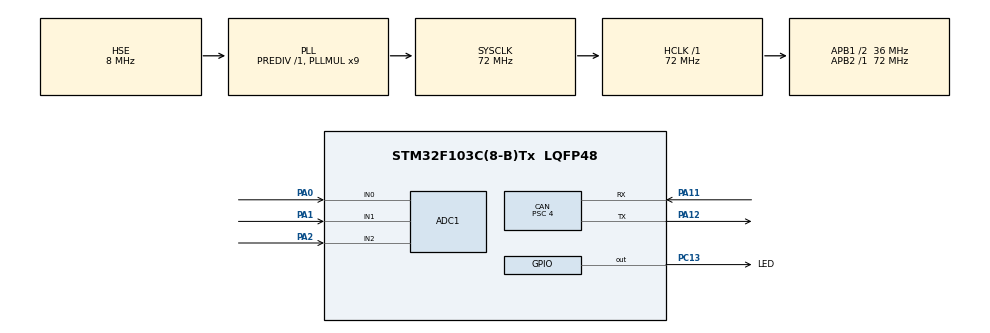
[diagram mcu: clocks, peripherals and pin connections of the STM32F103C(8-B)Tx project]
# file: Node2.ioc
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ADC1.Channel-0\#ChannelRegularConversion=ADC_CHANNEL_0
ADC1.Channel-1\#ChannelRegularConversion=ADC_CHANNEL_1
ADC1.Channel-2\#ChannelRegularConversion=ADC_CHANNEL_2
ADC1.ContinuousConvMode=ENABLE
ADC1.NbrOfConversion=3
ADC1.NbrOfConversionFlag=1
ADC1.Rank-0\#ChannelRegularConversion=1
ADC1.Rank-1\#ChannelRegularConversion=2
ADC1.Rank-2\#ChannelRegularConversion=3
ADC1.SamplingTime-0\#ChannelRegularConversion=ADC_SAMPLETIME_239CYCLES_5
ADC1.SamplingTime-1\#ChannelRegularConversion=ADC_SAMPLETIME_239CYCLES_5
ADC1.SamplingTime-2\#ChannelRegularConversion=ADC_SAMPLETIME_239CYCLES_5
ADC1.master=1
CAN.ABOM=ENABLE
CAN.BS1=CAN_BS1_12TQ
CAN.BS2=CAN_BS2_5TQ
CAN.CalculateBaudRate=500000
CAN.CalculateTimeBit=2000
CAN.CalculateTimeQuantum=111.11111111111111
CAN.NART=ENABLE
CAN.Prescaler=4
Dma.ADC1.0.Direction=DMA_PERIPH_TO_MEMORY
Dma.ADC1.0.Instance=DMA1_Channel1
Dma.ADC1.0.MemDataAlignment=DMA_MDATAALIGN_WORD
Dma.ADC1.0.MemInc=DMA_MINC_ENABLE
Dma.ADC1.0.Mode=DMA_CIRCULAR
Dma.ADC1.0.PeriphDataAlignment=DMA_PDATAALIGN_WORD
Dma.ADC1.0.PeriphInc=DMA_PINC_DISABLE
Dma.ADC1.0.Priority=DMA_PRIORITY_LOW
Dma.Request0=ADC1
Mcu.Family=STM32F1
Mcu.Name=STM32F103C(8-B)Tx
Mcu.Package=LQFP48
NVIC.ADC1_2_IRQn=true\:0\:0\:false\:false\:true\:true\:true\:true
NVIC.DMA1_Channel1_IRQn=true\:0\:0\:false\:false\:true\:false\:true\:true
NVIC.PriorityGroup=NVIC_PRIORITYGROUP_4
PA0-WKUP.Signal=ADCx_IN0
PA1.Signal=ADCx_IN1
PA11.Mode=CAN_Activate
PA11.Signal=CAN_RX
PA12.Mode=CAN_Activate
PA12.Signal=CAN_TX
PA13.Mode=Serial_Wire
PA13.Signal=SYS_JTMS-SWDIO
PA14.Mode=Serial_Wire
PA14.Signal=SYS_JTCK-SWCLK
PA2.Signal=ADCx_IN2
PC13-TAMPER-RTC.GPIO_Label=LED
PC13-TAMPER-RTC.PinState=GPIO_PIN_SET
PC13-TAMPER-RTC.Signal=GPIO_Output
PD0-OSC_IN.Mode=HSE-External-Oscillator
PD0-OSC_IN.Signal=RCC_OSC_IN
PD1-OSC_OUT.Mode=HSE-External-Oscillator
PD1-OSC_OUT.Signal=RCC_OSC_OUT
ProjectManager.HeapSize=0x200
ProjectManager.StackSize=0x400
ProjectManager.TargetToolchain=STM32CubeIDE
RCC.ADCPresc=RCC_ADCPCLK2_DIV6
RCC.AHBFreq_Value=72000000
RCC.APB1CLKDivider=RCC_HCLK_DIV2
RCC.APB1Freq_Value=36000000
RCC.APB1TimFreq_Value=72000000
RCC.APB2Freq_Value=72000000
RCC.APB2TimFreq_Value=72000000
RCC.HCLKFreq_Value=72000000
RCC.PLLMUL=RCC_PLL_MUL9
RCC.PLLSourceVirtual=RCC_PLLSOURCE_HSE
RCC.SYSCLKFreq_VALUE=72000000
RCC.SYSCLKSource=RCC_SYSCLKSOURCE_PLLCLK
RCC.USBFreq_Value=72000000
SH.ADCx_IN0.0=ADC1_IN0,IN0
SH.ADCx_IN1.0=ADC1_IN1,IN1
SH.ADCx_IN2.0=ADC1_IN2,IN2
board=custom

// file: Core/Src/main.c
/* USER CODE BEGIN Header */
/**
  ******************************************************************************
  * @file    : main.c
  * @brief   : Node 2 -- BCM/BMS Simulator
  *            Reads 3x 10kOhm potentiometers via ADC with DMA.
  *            Transmits CAN: Battery SoC, Gear index, Drive Mode index.
  ******************************************************************************
  */
/* USER CODE END Header */

#include "main.h"
#include "adc.h"    /* MX_ADC1_Init(), hadc1 handle                            */
#include "dma.h"    /* MX_DMA_Init() -- must be initialised BEFORE ADC          */
#include "can.h"    /* MX_CAN_Init(), hcan handle                               */
#include "gpio.h"

/* USER CODE BEGIN Includes */
#include <stdint.h>
/* USER CODE END Includes */

/* USER CODE BEGIN PD */
/*
 * Zone mapping constants.
 * Algorithm: zone = adc_value * N / 4096
 * Using 4096 (not 4095) as divisor prevents zone from ever reaching N.
 *   4095 * 7 / 4096 = 6  (D3, last zone)
 *   4095 * 3 / 4096 = 2  (SPORT, last zone)
 */
#define ADC_GEAR_ZONES   7
#define ADC_MODE_ZONES   3
#define ADC_MAX_12BIT    4096UL   /* divisor for zone mapping (NOT 4095)        */
#define ADC_FULL_SCALE   4095UL   /* divisor for SoC % mapping                  */

/* ADC rail-check thresholds for 0x1F2 heartbeat health bytes.
 * A pot reading outside [LOW_RAIL, HIGH_RAIL] indicates disconnected or
 * shorted hardware; within range it is considered healthy regardless of position. */
#define ADC_POT_LOW_RAIL    50    /* below this -> pot disconnected / shorted to GND */
#define ADC_POT_HIGH_RAIL 4045   /* above this -> pot shorted to VCC                */
/* USER CODE END PD */

/* USER CODE BEGIN PV */
/*
 * adc_raw[3] -- DMA destination buffer (circular mode).
 *   adc_raw[0] = CH0 -> PA0 -> Battery SoC potentiometer
 *   adc_raw[1] = CH1 -> PA1 -> Gear selector potentiometer
 *   adc_raw[2] = CH2 -> PA2 -> Drive mode potentiometer
 *
 * WARNING: DMA Memory Increment (MINC) MUST be enabled in CubeMX.
 * If left unchecked (default), all three transfers land on &adc_raw[0]:
 * all three elements appear to mirror the same potentiometer ("mirroring" bug).
 *
 * 'volatile': DMA writes this array asynchronously; compiler must not cache.
 * 'uint32_t': matches DMA configuration (Data Width = Word/Word).
 */
volatile uint32_t adc_raw[3] = {0};

/* USER CODE END PV */

void SystemClock_Config(void);

/* USER CODE BEGIN 0 */

/*
 * map_battery_soc -- 12-bit ADC -> battery state-of-charge %.
 *   soc = adc * 100 / 4095
 *   Multiply first to preserve integer precision (max: 409500 < 2^32).
 *   Clamped to [0, 100] to guard against ADC noise.
 */
static inline uint8_t map_battery_soc(uint32_t adc)
{
    uint32_t soc = (adc * 100UL) / ADC_FULL_SCALE;
    if (soc > 100) soc = 100;
    return (uint8_t)soc;
}

/*
 * map_gear -- 12-bit ADC -> gear index 0-6.
 * ADC range    | Zone | Gear
 * 0    -  584  |  0   |  P
 * 585  - 1169  |  1   |  R
 * 1170 - 1754  |  2   |  N
 * 1755 - 2339  |  3   |  D
 * 2340 - 2924  |  4   |  D1
 * 2925 - 3509  |  5   |  D2
 * 3510 - 4095  |  6   |  D3
 */
static inline uint8_t map_gear(uint32_t adc)
{
    uint32_t zone = (adc * (uint32_t)ADC_GEAR_ZONES) / ADC_MAX_12BIT;
    if (zone >= ADC_GEAR_ZONES) zone = ADC_GEAR_ZONES - 1;
    return (uint8_t)zone;
}

/*
 * map_drive_mode -- 12-bit ADC -> drive mode index 0-2.
 * ADC range    | Zone | Mode   | Dashboard theme color
 * 0    - 1364  |  0   | ECO    | Lime    #B8FF01
 * 1365 - 2729  |  1   | NORMAL | White   #FFFFFF
 * 2730 - 4095  |  2   | SPORT  | Red-Org #FF3300
 */
static inline uint8_t map_drive_mode(uint32_t adc)
{
    uint32_t zone = (adc * (uint32_t)ADC_MODE_ZONES) / ADC_MAX_12BIT;
    if (zone >= ADC_MODE_ZONES) zone = ADC_MODE_ZONES - 1;
    return (uint8_t)zone;
}

/* USER CODE END 0 */

int main(void)
{

  HAL_Init();

  SystemClock_Config();

  /* CRITICAL ORDER: DMA must init before ADC */
  MX_GPIO_Init();
  MX_DMA_Init();    /* <- MUST come before MX_ADC1_Init()                       */
  MX_ADC1_Init();
  MX_CAN_Init();

  /* USER CODE BEGIN 2 */

  /* ADC self-calibration -- run once after power-on, before HAL_ADC_Start_DMA */
  HAL_ADCEx_Calibration_Start(&hadc1);

  /* Start ADC in DMA mode -- adc_raw[] updates continuously in the background */
  HAL_ADC_Start_DMA(&hadc1, (uint32_t *)adc_raw, 3);

  /* CAN Filter -- Accept-All (32-bit mask mode, mask=0x0000 -> all IDs pass).
   * ABOM is enabled in CubeMX, so no manual Stop/Start recovery is needed. */
  CAN_FilterTypeDef sFilterConfig;
  sFilterConfig.FilterBank           = 0;
  sFilterConfig.FilterMode           = CAN_FILTERMODE_IDMASK;
  sFilterConfig.FilterScale          = CAN_FILTERSCALE_32BIT;
  sFilterConfig.FilterIdHigh         = 0x0000;
  sFilterConfig.FilterIdLow          = 0x0000;
  sFilterConfig.FilterMaskIdHigh     = 0x0000;   /* mask=0 -> all ID bits are don't-care */
  sFilterConfig.FilterMaskIdLow      = 0x0000;
  sFilterConfig.FilterFIFOAssignment = CAN_RX_FIFO0;
  sFilterConfig.FilterActivation     = ENABLE;
  sFilterConfig.SlaveStartFilterBank = 14;       /* STM32F103 single-CAN: irrelevant but required */
  if (HAL_CAN_ConfigFilter(&hcan, &sFilterConfig) != HAL_OK)
  {
    Error_Handler();
  }

  if (HAL_CAN_Start(&hcan) != HAL_OK)
  {
    /* 5 Hz fast blink on PC13: CAN_Start failed. PC13 is active-LOW. */
    while (1)
    {
      HAL_GPIO_TogglePin(GPIOC, GPIO_PIN_13);
      HAL_Delay(100);   /* 100 ms -> 5 Hz */
    }
  }

  CAN_TxHeaderTypeDef TxHeader;
  uint32_t TxMailbox;
  TxHeader.IDE = CAN_ID_STD;
  TxHeader.RTR = CAN_RTR_DATA;
  TxHeader.DLC = 1;    /* all 3 Node 2 frames carry exactly 1 data byte        */
  TxHeader.TransmitGlobalTime = DISABLE;

  uint32_t last_tx_tick  = 0;
  uint32_t last_led_tick = 0;

  /* USER CODE END 2 */

  /* USER CODE BEGIN WHILE */
  while (1)
  {
    /* Non-blocking 1 Hz LED heartbeat -- PC13 active-LOW */
    uint32_t now = HAL_GetTick();
    if ((now - last_led_tick) >= 500)
    {
      last_led_tick = now;
      HAL_GPIO_TogglePin(GPIOC, GPIO_PIN_13);
    }

    /* 10 Hz rate limiter via uint32 subtraction.
     * Subtraction handles HAL_GetTick() rollover correctly (~49 days). */
    if ((now - last_tx_tick) >= 100)   /* 100 ms -> 10 Hz                       */
    {
      last_tx_tick = now;

      /* Snapshot adc_raw[] once to avoid torn reads from async DMA updates */
      uint32_t raw_batt = adc_raw[0];
      uint32_t raw_gear = adc_raw[1];
      uint32_t raw_mode = adc_raw[2];

      uint8_t soc  = map_battery_soc(raw_batt);
      uint8_t gear = map_gear(raw_gear);

      uint8_t mode = map_drive_mode(raw_mode);

      /* TX: 0x102 -- Battery SoC % (byte[0] = uint8, 0-100) */
      if (HAL_CAN_GetTxMailboxesFreeLevel(&hcan) > 0)
      {
        TxHeader.StdId = 0x102;
        HAL_CAN_AddTxMessage(&hcan, &TxHeader, &soc, &TxMailbox);
      }

      /* TX: 0x104 -- Gear index (byte[0] = uint8 0-6: P/R/N/D/D1/D2/D3) */
      if (HAL_CAN_GetTxMailboxesFreeLevel(&hcan) > 0)
      {
        TxHeader.StdId = 0x104;
        HAL_CAN_AddTxMessage(&hcan, &TxHeader, &gear, &TxMailbox);
      }

      /* TX: 0x108 -- Drive Mode index (byte[0] = uint8 0-2: ECO/NORMAL/SPORT) */
      if (HAL_CAN_GetTxMailboxesFreeLevel(&hcan) > 0)
      {
        TxHeader.StdId = 0x108;
        HAL_CAN_AddTxMessage(&hcan, &TxHeader, &mode, &TxMailbox);
      }

    } /* end 100ms block */

    /* TX: 0x1F2 -- Node 2 Heartbeat @ 500 ms (ADC rail check)
     * byte[0] = SoC  pot (PA0) health   -- 0x01 if in range (50..4045), 0xFF if at rail
     * byte[1] = Gear pot (PA1) health   -- 0x01 if in range (50..4045), 0xFF if at rail
     * byte[2] = Mode pot (PA2) health   -- 0x01 if in range (50..4045), 0xFF if at rail */
    {
      static uint32_t last_hb2_tick = 0;
      uint32_t now_hb2 = HAL_GetTick();
      if ((now_hb2 - last_hb2_tick) >= 500)
      {
        last_hb2_tick = now_hb2;
        if (HAL_CAN_GetTxMailboxesFreeLevel(&hcan) > 0)
        {
          uint8_t HB2[8] = {
            (adc_raw[0] > ADC_POT_LOW_RAIL && adc_raw[0] < ADC_POT_HIGH_RAIL) ? 0x01 : 0xFF,
            (adc_raw[1] > ADC_POT_LOW_RAIL && adc_raw[1] < ADC_POT_HIGH_RAIL) ? 0x01 : 0xFF,
            (adc_raw[2] > ADC_POT_LOW_RAIL && adc_raw[2] < ADC_POT_HIGH_RAIL) ? 0x01 : 0xFF,
            0x00, 0x00, 0x00, 0x00, 0x00
          };
          TxHeader.StdId = 0x1F2;
          TxHeader.DLC   = 8;
          HAL_CAN_AddTxMessage(&hcan, &TxHeader, HB2, &TxMailbox);
          TxHeader.DLC   = 1;   /* restore: normal Node 2 frames use DLC=1 */
        }
      }
    }

    /* USER CODE END WHILE */

  }
}

void SystemClock_Config(void)
{
  RCC_OscInitTypeDef RCC_OscInitStruct       = {0};
  RCC_ClkInitTypeDef RCC_ClkInitStruct       = {0};
  RCC_PeriphCLKInitTypeDef PeriphClkInit     = {0};

  RCC_OscInitStruct.OscillatorType = RCC_OSCILLATORTYPE_HSE;
  RCC_OscInitStruct.HSEState       = RCC_HSE_ON;
  RCC_OscInitStruct.HSEPredivValue = RCC_HSE_PREDIV_DIV1;
  RCC_OscInitStruct.HSIState       = RCC_HSI_ON;
  RCC_OscInitStruct.PLL.PLLState   = RCC_PLL_ON;
  RCC_OscInitStruct.PLL.PLLSource  = RCC_PLLSOURCE_HSE;
  RCC_OscInitStruct.PLL.PLLMUL     = RCC_PLL_MUL9;
  if (HAL_RCC_OscConfig(&RCC_OscInitStruct) != HAL_OK) { Error_Handler(); }

  RCC_ClkInitStruct.ClockType      = RCC_CLOCKTYPE_HCLK | RCC_CLOCKTYPE_SYSCLK
                                   | RCC_CLOCKTYPE_PCLK1 | RCC_CLOCKTYPE_PCLK2;
  RCC_ClkInitStruct.SYSCLKSource   = RCC_SYSCLKSOURCE_PLLCLK;
  RCC_ClkInitStruct.AHBCLKDivider  = RCC_SYSCLK_DIV1;
  RCC_ClkInitStruct.APB1CLKDivider = RCC_HCLK_DIV2;
  RCC_ClkInitStruct.APB2CLKDivider = RCC_HCLK_DIV1;
  if (HAL_RCC_ClockConfig(&RCC_ClkInitStruct, FLASH_LATENCY_2) != HAL_OK) { Error_Handler(); }

  /* ADC peripheral clock: PCLK2 / 6 = 72 / 6 = 12 MHz (max allowed: 14 MHz) */
  PeriphClkInit.PeriphClockSelection = RCC_PERIPHCLK_ADC;
  PeriphClkInit.AdcClockSelection    = RCC_ADCPCLK2_DIV6;
  if (HAL_RCCEx_PeriphCLKConfig(&PeriphClkInit) != HAL_OK) { Error_Handler(); }
}

/* USER CODE BEGIN 4 */
/*
 * HAL_ADC_ConvCpltCallback -- fires when DMA completes one full 3-channel scan.
 * Left empty: main loop reads adc_raw[] directly without needing notification.
 */
/* USER CODE END 4 */

void Error_Handler(void)
{
  __disable_irq();
  while (1)
  {
  }
}
